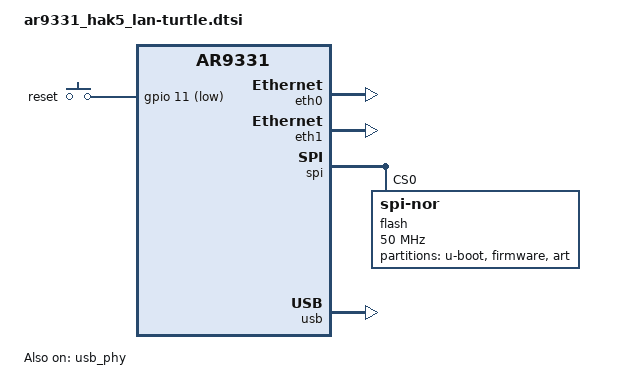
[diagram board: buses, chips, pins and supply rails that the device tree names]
// SPDX-License-Identifier: GPL-2.0-or-later OR MIT

#include "ar9331.dtsi"

#include <dt-bindings/gpio/gpio.h>
#include <dt-bindings/input/input.h>

/ {
	keys: keys {
		compatible = "gpio-keys";

		pinctrl-names = "default";
		pinctrl-0 = <&enable_gpio11>;

		reset {
			label = "reset";
			linux,code = <KEY_RESTART>;
			gpios = <&gpio 11 GPIO_ACTIVE_LOW>;
			debounce-interval = <60>;
		};
	};
};

&eth0 {
	status = "okay";

	mtd-mac-address = <&uboot 0x1fc00>;
	mtd-mac-address-increment = <(-1)>;

	gmac-config {
		device = <&gmac>;

		switch-phy-addr-swap = <1>;
		switch-phy-swap = <1>;
	};
};

&eth1 {
	status = "okay";

	mtd-mac-address = <&uboot 0x1fc00>;
	mtd-mac-address-increment = <1>;
};

&pinmux {
	enable_gpio11: pinmux_enable_gpio11 {
		pinctrl-single,bits = <0x0 0x0 0x4>;
	};
};

&spi {
	status = "okay";

	flash@0 {
		compatible = "jedec,spi-nor";
		reg = <0>;
		spi-max-frequency = <50000000>;
		m25p,fast-read;

		partitions {
			compatible = "fixed-partitions";
			#address-cells = <1>;
			#size-cells = <1>;

			uboot: partition@0 {
				label = "u-boot";
				reg = <0x000000 0x020000>;
				read-only;
			};

			partition@20000 {
				label = "firmware";
				reg = <0x020000 0xfd0000>;
				compatible = "tplink,firmware";
			};

			partition@ff0000 {
				label = "art";
				reg = <0xff0000 0x010000>;
				read-only;
			};
		};
	};
};

&usb {
	status = "okay";
};

&usb_phy {
	status = "okay";
};
